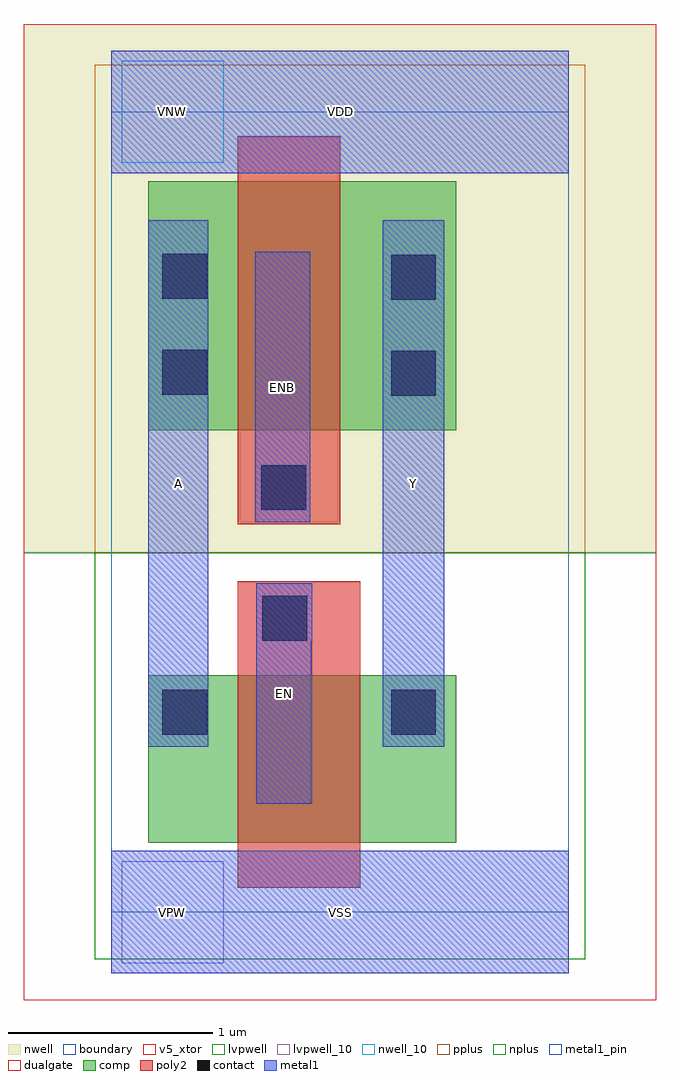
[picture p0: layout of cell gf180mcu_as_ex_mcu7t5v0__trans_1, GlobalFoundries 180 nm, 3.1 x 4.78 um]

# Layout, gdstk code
import gdstk
lib = gdstk.Library(unit=1e-6, precision=1e-09)
def R(c, l, rs):  # rectangles x0, y0, x1, y1
    for r in rs: c.add(gdstk.rectangle(r[:2], r[2:], *l))
boundary = (0, 0)
nwell = (21, 0)
nwell_10 = (21, 10)
comp = (22, 0)
poly2 = (30, 0)
pplus = (31, 0)
nplus = (32, 0)
contact = (33, 0)
metal1 = (34, 0)
metal1_pin = (34, 10)
dualgate = (55, 0)
v5_xtor = (112, 1)
lvpwell = (204, 0)
lvpwell_10 = (204, 10)

gf180mcu_as_ex_mcu7t5v0_ = lib.new_cell('gf180mcu_as_ex_mcu7t5v0__trans_1')
R(gf180mcu_as_ex_mcu7t5v0_, boundary, [(0,0,2.24,3.92)])
R(gf180mcu_as_ex_mcu7t5v0_, nwell, [(-0.43,1.76,2.67,4.35)])
R(gf180mcu_as_ex_mcu7t5v0_, nwell_10, [(0.05,3.67,0.55,4.17)])
R(gf180mcu_as_ex_mcu7t5v0_, comp, [(0.18,0.34,1.69,1.16), (0.18,2.36,1.69,3.58)])
R(gf180mcu_as_ex_mcu7t5v0_, poly2, [(0.62,0.12,1.22,1.62), (0.62,1.9,1.12,3.8)])
R(gf180mcu_as_ex_mcu7t5v0_, pplus, [(-0.08,1.76,2.32,4.15), (0.39,2.13,1.35,2.2), (0.02,2.2,1.85,3.74), (0.39,3.74,1.35,3.81)])
R(gf180mcu_as_ex_mcu7t5v0_, nplus, [(-0.08,-0.23,2.32,1.76), (-0.08,-0.23,2.32,1.76)])
R(gf180mcu_as_ex_mcu7t5v0_, contact, [(0.25,0.87,0.47,1.09), (1.37,0.87,1.59,1.09), (0.74,1.33,0.96,1.55), (0.735,1.97,0.955,2.19), (1.37,2.53,1.59,2.75), (0.25,2.535,0.47,2.755), (1.37,3,1.59,3.22), (0.25,3.005,0.47,3.225)])
R(gf180mcu_as_ex_mcu7t5v0_, metal1, [(0,-0.3,2.24,0.3), (0.71,0.53,0.98,1.33), (0.18,0.81,0.475,3.39), (1.33,0.81,1.63,3.39), (0.71,1.33,0.985,1.61), (0.705,1.91,0.975,3.235), (0,3.62,2.24,4.22)])
R(gf180mcu_as_ex_mcu7t5v0_, metal1_pin, [(0,-0.3,2.24,0.3), (0.71,0.53,0.985,1.61), (0.18,0.81,0.475,3.39), (1.33,0.81,1.63,3.39), (0.705,1.91,0.975,3.235), (0,3.62,2.24,4.22)])
R(gf180mcu_as_ex_mcu7t5v0_, dualgate, [(-0.43,-0.43,2.67,4.35), (0.22,-0.06,1.62,0.1), (-0.06,0.1,1.93,1.4), (0.22,1.4,1.62,1.56), (0.22,1.56,1.52,2.12), (-0.06,2.12,1.93,3.82), (0.22,3.82,1.52,3.98)])
R(gf180mcu_as_ex_mcu7t5v0_, v5_xtor, [(-0.43,-0.43,2.67,4.35)])
R(gf180mcu_as_ex_mcu7t5v0_, lvpwell, [(-0.43,-0.43,2.67,1.76)])
R(gf180mcu_as_ex_mcu7t5v0_, lvpwell_10, [(0.05,-0.25,0.55,0.25)])
gf180mcu_as_ex_mcu7t5v0_.add(gdstk.Label('Y', (1.48,2.1), layer=34, texttype=10))
gf180mcu_as_ex_mcu7t5v0_.add(gdstk.Label('A', (0.327,2.1), layer=34, texttype=10))
gf180mcu_as_ex_mcu7t5v0_.add(gdstk.Label('VDD', (1.12,3.92), layer=34, texttype=10))
gf180mcu_as_ex_mcu7t5v0_.add(gdstk.Label('VSS', (1.12,0), layer=34, texttype=10))
gf180mcu_as_ex_mcu7t5v0_.add(gdstk.Label('ENB', (0.84,2.572), layer=34, texttype=10))
gf180mcu_as_ex_mcu7t5v0_.add(gdstk.Label('EN', (0.847,1.07), layer=34, texttype=10))
gf180mcu_as_ex_mcu7t5v0_.add(gdstk.Label('VNW', (0.3,3.92), layer=21, texttype=10))
gf180mcu_as_ex_mcu7t5v0_.add(gdstk.Label('VPW', (0.3,0), layer=204, texttype=10))

lib.write_gds('gf180mcu_as_ex_mcu7t5v0__trans_1.gds')
